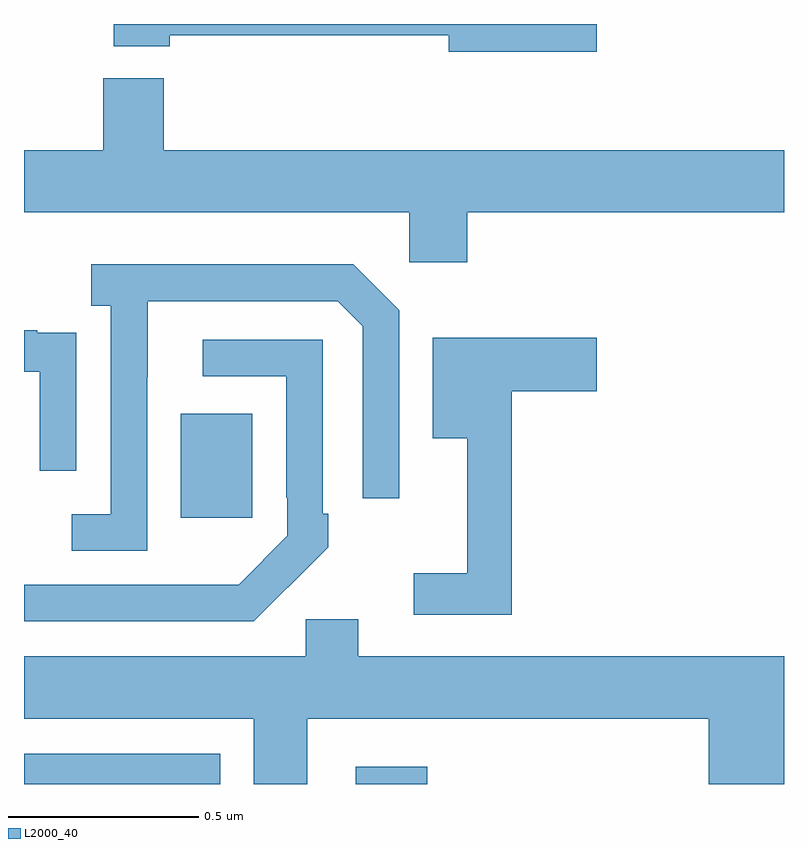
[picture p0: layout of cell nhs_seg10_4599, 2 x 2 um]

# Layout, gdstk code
import gdstk
lib = gdstk.Library(unit=1e-6, precision=1e-09)
def R(c, l, rs):  # rectangles x0, y0, x1, y1
    for r in rs: c.add(gdstk.rectangle(r[:2], r[2:], *l))
def P(c, l, *ps):  # polygons
    for p in ps: c.add(gdstk.Polygon(p, *l))
L2000_40 = (2000, 40)

nhs_seg10_4599 = lib.new_cell('nhs_seg10_4599')
R(nhs_seg10_4599, L2000_40, [(168,1277.5,168.516,1277.58), (168.873,1277.5,169.061,1277.545), (168.413,1278.201,168.601,1278.475)])
P(nhs_seg10_4599, L2000_40, [(169.507,1279.5),(168.236,1279.5),(168.236,1279.442),(168.383,1279.442),(168.383,1279.47),(169.118,1279.47),(169.118,1279.427),(169.507,1279.427)],
  [(169.166,1279.004),(170,1279.004),(170,1279.168),(168.368,1279.168),(168.368,1279.357),(168.208,1279.357),(168.208,1279.168),(168,1279.168),(168,1279.004),(169.014,1279.004),(169.014,1278.873),(169.166,1278.873)],
  [(168.324,1278.571),(168.325,1278.571),(168.325,1278.771),(168.825,1278.771),(168.891,1278.705),(168.891,1278.252),(168.987,1278.252),(168.987,1278.747),(168.866,1278.868),(168.177,1278.868),(168.177,1278.758),(168.228,1278.758),(168.228,1278.21),(168.126,1278.21),(168.126,1278.114),(168.324,1278.114)],
  [(168.138,1278.578),(168.137,1278.578),(168.137,1278.687),(168.035,1278.687),(168.035,1278.694),(168,1278.694),(168,1278.585),(168.042,1278.585),(168.042,1278.324),(168.138,1278.324)],
  [(169.283,1278.533),(169.507,1278.533),(169.507,1278.675),(169.076,1278.675),(169.076,1278.41),(169.166,1278.41),(169.166,1278.055),(169.026,1278.055),(169.026,1277.946),(169.283,1277.946)],
  [(168.695,1278.019),(168.696,1278.018),(168.801,1278.123),(168.801,1278.211),(168.786,1278.211),(168.786,1278.669),(168.471,1278.669),(168.471,1278.573),(168.69,1278.573),(168.69,1278.253),(168.693,1278.253),(168.693,1278.153),(168.565,1278.025),(168.461,1278.025),(168.461,1278.024),(168,1278.024),(168,1277.928),(168.604,1277.928)],
  [(168.745,1277.672),(169.802,1277.672),(169.802,1277.5),(170,1277.5),(170,1277.836),(168.88,1277.836),(168.88,1277.934),(168.741,1277.934),(168.741,1277.836),(168,1277.836),(168,1277.672),(168.605,1277.672),(168.605,1277.5),(168.745,1277.5)])

lib.write_gds('nhs_seg10_4599.gds')
